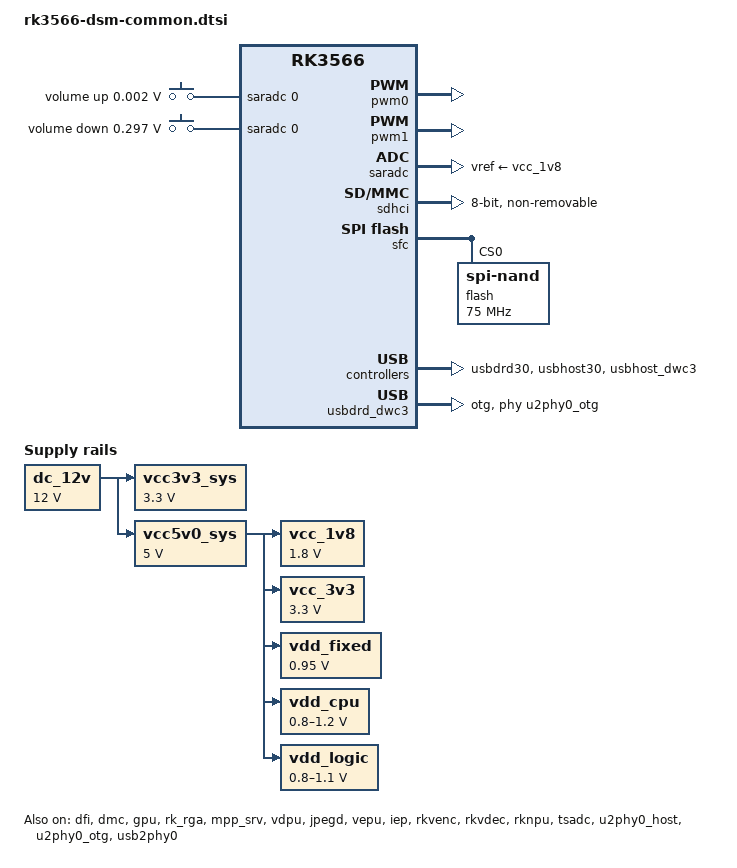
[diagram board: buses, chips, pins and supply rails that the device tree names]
// SPDX-License-Identifier: (GPL-2.0+ OR MIT)
/*
 * Common RK3566 DSM/NAS support.
 *
 * Keep display, HDMI audio and board-only connectors out of this file.
 */

#include "rk3566.dtsi"
#include <dt-bindings/input/rk-input.h>

/ {
	adc_keys: adc-keys {
		compatible = "adc-keys";
		io-channels = <&saradc 0>;
		io-channel-names = "buttons";
		keyup-threshold-microvolt = <1800000>;
		poll-interval = <100>;

		vol-up-key {
			label = "volume up";
			linux,code = <KEY_VOLUMEUP>;
			press-threshold-microvolt = <1750>;
		};

		vol-down-key {
			label = "volume down";
			linux,code = <KEY_VOLUMEDOWN>;
			press-threshold-microvolt = <297500>;
		};
	};

	dc_12v: dc-12v {
		compatible = "regulator-fixed";
		regulator-name = "dc_12v";
		regulator-always-on;
		regulator-boot-on;
		regulator-min-microvolt = <12000000>;
		regulator-max-microvolt = <12000000>;
	};

	reserved-memory {
		#address-cells = <2>;
		#size-cells = <2>;
		ranges;

		/delete-node/ drm-logo@00000000;
		/delete-node/ drm-cubic-lut@00000000;

		rknpu_reserved: rknpu {
			compatible = "shared-dma-pool";
			inactive;
			reusable;
			size = <0x0 0x20000000>;
			alignment = <0x0 0x1000>;
			status = "disabled";
		};
	};

	vcc3v3_sys: vcc3v3-sys {
		compatible = "regulator-fixed";
		regulator-name = "vcc3v3_sys";
		regulator-always-on;
		regulator-boot-on;
		regulator-min-microvolt = <3300000>;
		regulator-max-microvolt = <3300000>;
		vin-supply = <&dc_12v>;
	};

	vcc5v0_sys: vcc5v0-sys {
		compatible = "regulator-fixed";
		regulator-name = "vcc5v0_sys";
		regulator-always-on;
		regulator-boot-on;
		regulator-min-microvolt = <5000000>;
		regulator-max-microvolt = <5000000>;
		vin-supply = <&dc_12v>;
	};

	vcc_1v8: vcc_1v8 {
		compatible = "regulator-fixed";
		regulator-name = "vcc_1v8";
		regulator-always-on;
		regulator-boot-on;
		regulator-min-microvolt = <1800000>;
		regulator-max-microvolt = <1800000>;
		vin-supply = <&vcc5v0_sys>;
	};

	vcc_3v3: vcc_3v3 {
		compatible = "regulator-fixed";
		regulator-name = "vcc_3v3";
		regulator-always-on;
		regulator-boot-on;
		regulator-min-microvolt = <3300000>;
		regulator-max-microvolt = <3300000>;
		vin-supply = <&vcc5v0_sys>;
	};

	vdd_fixed: vdd-fixed {
		compatible = "regulator-fixed";
		regulator-name = "vdd_fixed";
		regulator-min-microvolt = <950000>;
		regulator-max-microvolt = <950000>;
		regulator-always-on;
		regulator-boot-on;
		vin-supply = <&vcc5v0_sys>;
	};

	vdd_cpu: vdd-cpu {
		compatible = "pwm-regulator";
		pwms = <&pwm0 0 5000 1>;
		regulator-name = "vdd_cpu";
		regulator-min-microvolt = <800000>;
		regulator-max-microvolt = <1200000>;
		regulator-init-microvolt = <950000>;
		regulator-always-on;
		regulator-boot-on;
		regulator-settling-time-up-us = <250>;
		regulator-ramp-delay = <2300>;
		pwm-supply = <&vcc5v0_sys>;
		status = "okay";
	};

	vdd_logic: vdd-logic {
		compatible = "pwm-regulator";
		pwms = <&pwm1 0 5000 1>;
		regulator-name = "vdd_logic";
		regulator-min-microvolt = <800000>;
		regulator-max-microvolt = <1100000>;
		regulator-init-microvolt = <950000>;
		regulator-always-on;
		regulator-boot-on;
		regulator-settling-time-up-us = <250>;
		regulator-ramp-delay = <6001>;
		pwm-supply = <&vcc5v0_sys>;
		status = "okay";
	};
};

&bus_npu {
	status = "disabled";
};

&cpu0 {
	clocks = <&cru ARMCLK>;
	cpu-supply = <&vdd_cpu>;
};

&cpu1 {
	clocks = <&cru ARMCLK>;
};

&cpu2 {
	clocks = <&cru ARMCLK>;
};

&cpu3 {
	clocks = <&cru ARMCLK>;
};

&cpu0_opp_table {
	/* Restore Rockchip SoC-version and speed-grade filtering.
	 * The J/M alternatives are inherited from rk3568.dtsi; do not delete
	 * them or a special bin can lose all of its valid frequency points.
	 */
	rockchip,supported-hw;
	/delete-node/ opp-1992000000;

	/*
	 * P0.5: 1800 MHz is a bad bin on this board.
	 *
	 * Verified on hardware: with >=2 cores under load the box hard-hangs
	 * at a peak of only 56 C, far below every thermal trip.  Reproduced
	 * with two different supplies, so it is not thermal and not a PSU
	 * fault.  The 1608 MHz cap used to be enforced only by the uInitrd
	 * hook writing scaling_max_freq; if that hook ever stops running
	 * (firmware upgrade, path change, initrd rebuild) the kernel would
	 * happily pick 1800 MHz again and hang the box.
	 *
	 * Deleting the OPP makes 1608 MHz a kernel level limit: cpufreq no
	 * longer exposes 1800 MHz at all, so the hook becomes a redundant
	 * belt-and-braces measure rather than the only guard.
	 *
	 * With hardware filtering restored, the normal/M table has six OPPs,
	 * while the J table has only 1008/1416 MHz.  Cooling maps therefore
	 * specify frequency ceilings, resolved against the actual CPUFreq
	 * table when binding, rather than assuming one state index layout.
	 */
	/delete-node/ opp-1800000000;

	opp-408000000 {
		opp-supported-hw = <0xfb 0xffff>;
		opp-hz = /bits/ 64 <408000000>;
		opp-microvolt = <850000 850000 1200000>;
	};

	opp-600000000 {
		opp-supported-hw = <0xfb 0xffff>;
		opp-hz = /bits/ 64 <600000000>;
		opp-microvolt = <850000 850000 1200000>;
	};

	opp-816000000 {
		opp-supported-hw = <0xfb 0xffff>;
		opp-hz = /bits/ 64 <816000000>;
		opp-microvolt = <850000 850000 1200000>;
	};

	opp-1104000000 {
		opp-supported-hw = <0xfb 0xffff>;
		opp-hz = /bits/ 64 <1104000000>;
		opp-microvolt = <900000 900000 1200000>;
	};

	opp-1416000000 {
		opp-supported-hw = <0xfb 0xffff>;
		opp-hz = /bits/ 64 <1416000000>;
		opp-microvolt = <1025000 1025000 1200000>;
	};

	opp-1608000000 {
		opp-supported-hw = <0xf9 0xffff>;
		opp-hz = /bits/ 64 <1608000000>;
		opp-microvolt = <1100000 1100000 1200000>;
	};

	/*
	 * P0: make the board level opp-microvolt above actually apply.
	 *
	 * rockchip_set_opp_prop_name() derives "opp-microvolt-L<n>" from the
	 * chip leakage/PVTM bin, and opp/of.c looks that property up FIRST,
	 * falling back to plain "opp-microvolt" only when it is absent.
	 * The SoC dtsi still carries the inherited per-bin voltages, so on
	 * every L1/L2/L3 part the board values above were bypassed.
	 * Measured on this unit (pvtm-volt-sel=1): 1608 MHz ran at 1050 mV
	 * instead of 1100 mV, 1416 MHz at 975 mV instead of 1025 mV, i.e.
	 * a uniform -50 mV gap.  vdd_cpu is a pwm-regulator, so that head
	 * room is not free.  Drop the inherited per-bin voltages so the
	 * values written above are the ones actually applied.
	 *
	 * opp-1800000000 is not touched here: it is deleted entirely above,
	 * so it must not be redefined below.
	 */
	opp-1104000000 {
		/delete-property/ opp-microvolt-L0;
		/delete-property/ opp-microvolt-L1;
		/delete-property/ opp-microvolt-L2;
		/delete-property/ opp-microvolt-L3;
	};

	opp-1416000000 {
		/delete-property/ opp-microvolt-L0;
		/delete-property/ opp-microvolt-L1;
		/delete-property/ opp-microvolt-L2;
		/delete-property/ opp-microvolt-L3;
	};

	opp-1608000000 {
		/delete-property/ opp-microvolt-L0;
		/delete-property/ opp-microvolt-L1;
		/delete-property/ opp-microvolt-L2;
		/delete-property/ opp-microvolt-L3;
	};
};

&dfi {
	status = "okay";
};

&dmc {
	auto-freq-en = <0>;
	center-supply = <&vdd_fixed>;
	status = "okay";
};

&gpu {
	clocks = <&cru CLK_GPU>;
	clock-names = "clk_mali";
	mali-supply = <&vdd_fixed>;
	status = "okay";
};

&gpu_opp_table {
	/delete-node/ opp-700000000;
	/delete-node/ opp-800000000;
	/delete-node/ opp-j-600000000;
	/delete-node/ opp-m-800000000;

	opp-200000000 {
		/delete-property/ opp-supported-hw;
		opp-hz = /bits/ 64 <200000000>;
		opp-microvolt = <850000 850000 1000000>;
	};

	opp-300000000 {
		/delete-property/ opp-supported-hw;
		opp-hz = /bits/ 64 <300000000>;
		opp-microvolt = <850000 850000 1000000>;
	};

	opp-400000000 {
		/delete-property/ opp-supported-hw;
		opp-hz = /bits/ 64 <400000000>;
		opp-microvolt = <850000 850000 1000000>;
	};

	opp-500000000 {
		opp-hz = /bits/ 64 <500000000>;
		opp-microvolt = <900000 900000 1000000>;
	};

	opp-600000000 {
		/delete-property/ opp-supported-hw;
		opp-hz = /bits/ 64 <600000000>;
		opp-microvolt = <900000 900000 1000000>;
	};
};

&pwm0 {
	status = "okay";
	pinctrl-names = "active";
};

&pwm1 {
	status = "okay";
	pinctrl-names = "active";
};

&rk_rga {
	clock-names = "aclk", "hclk", "sclk";
	resets = <&cru SRST_RGA_CORE>, <&cru SRST_A_RGA>, <&cru SRST_H_RGA>;
	reset-names = "core", "axi", "ahb";
	status = "okay";
};

&mpp_srv {
	status = "okay";
};

&vdpu {
	status = "okay";
};

&vdpu_mmu {
	status = "okay";
};

&jpegd {
	status = "okay";
};

&jpegd_mmu {
	status = "okay";
};

&vepu {
	status = "okay";
};

&vepu_mmu {
	status = "okay";
};

&iep {
	status = "okay";
};

&iep_mmu {
	status = "okay";
};

&rkvenc {
	dynamic-power-coefficient = <200>;
	venc-supply = <&vdd_logic>;
	status = "okay";

	power-model {
		compatible = "simple-power-model";
		thermal-zone = "soc-thermal";
		static-coefficient = <100000>;
		dynamic-coefficient = <200>;
		ts = <32000 4700 (-80) 2>;
		ref-leakage = <50>;
	};
};

&rkvenc_mmu {
	status = "okay";
};

&rkvdec {
	dynamic-power-coefficient = <200>;
	resets = <&cru SRST_A_RKVDEC_NIU>, <&cru SRST_H_RKVDEC_NIU>,
		 <&cru SRST_A_RKVDEC>, <&cru SRST_H_RKVDEC>,
		 <&cru SRST_RKVDEC_CA>, <&cru SRST_RKVDEC_CORE>,
		 <&cru SRST_RKVDEC_HEVC_CA>;
	reset-names = "niu_a", "niu_h", "video_a", "video_h",
		      "video_cabac", "video_core", "video_hevc_cabac";
	vdec-supply = <&vdd_logic>;
	status = "okay";

	power-model {
		compatible = "simple-power-model";
		thermal-zone = "soc-thermal";
		static-coefficient = <100000>;
		dynamic-coefficient = <200>;
		ts = <32000 4700 (-80) 2>;
		ref-leakage = <50>;
	};
};

&rkvdec_mmu {
	status = "okay";
};

&rknpu {
	clocks = <&cru CLK_NPU>, <&cru ACLK_NPU>, <&cru HCLK_NPU>;
	clock-names = "clk", "aclk", "hclk";
	dynamic-power-coefficient = <250>;
	memory-region = <&rknpu_reserved>;
	rknpu-supply = <&vdd_fixed>;
	status = "okay";

	power-model {
		compatible = "simple-power-model";
		thermal-zone = "soc-thermal";
		static-coefficient = <100000>;
		dynamic-coefficient = <250>;
		ts = <32000 4700 (-80) 2>;
		ref-leakage = <4>;
	};
};

&rknpu_mmu {
	status = "okay";
};

/*
 * Deliberately no #cooling-cells on the NPU.
 *
 * Giving the node #cooling-cells would let a cooling-map reference it, but
 * that does not make thermal management work: the NPU frequency is static
 * (the rknpu_ondemand governor does not sample load) and it already sits at
 * 600 MHz on a fixed 950 mV rail, so "throttling" it either does nothing or
 * risks an under-voltage operating point the OPP table never described.
 *
 * Its high-temperature protection is a userspace task gate in the
 * RK3566_NPU_Server package instead - see the cooling-maps comment above.
 */

/*
 * Thermal policy for the RK3566 OEC BOX (DS124).
 *
 * The board is passively cooled: no fan, and the SoC reaches its limit
 * long before the stock 85 C trip.  Verified on hardware: a >=2 core load
 * at 1800 MHz hard-hangs the box at a peak of 56 C, i.e. well below both
 * the 75 C and the 85 C trip, so the stock trips are useless as a
 * protection.  The SoC dtsi also ships a 75 C "threshold" trip that no
 * cooling-map ever referenced, so it was a dead entry.
 *
 * Three explicit frequency ceilings, resolved against the hardware-filtered
 * CPUFreq table at cooling-map binding time:
 *
 *   50 C  request at most 1416 MHz
 *   55 C  request at most  816 MHz
 *   75 C  request at most  408 MHz
 *
 * Normal/M bins have six OPPs and resolve these to states 1/3/5.  The J
 * alternatives provide only 1008/1416 MHz, so they resolve to states 0/1/1.
 * For J, 1008 MHz is the documented fallback at 55/75 C, NOT 816/408 MHz.
 *
 * The 50/55 C thresholds were chosen after a real NPU + simulated CPU
 * image-decode load reached 57.2 C; they are not proof of the cause of
 * lockups or white-LED boot failures reported on other boards.
 *
 * rockchip,cpu-frequency-ceiling-khz overrides the lower cooling-state
 * bound using the runtime table.  The first cooling-device argument is
 * only a zero placeholder; the upper bound stays THERMAL_NO_LIMIT so
 * step_wise can continue down to the lowest frequency the bin supports.
 * The standard cooling-map ABI is unchanged for maps without this property.
 *
 * The GPU keeps its own map1 on the same 75 C trip and its own cooling
 * device (thermal-devfreq-*), so the CPU state numbers above do not drag
 * the GPU down.
 *
 * NOTE: node overrides merge by PATH, not by label, so the trips below
 * reuse the SoC dtsi node names (trip-point-0/1) on purpose.  Writing
 * "threshold { ... }" here would create a *sibling* node named
 * "threshold" instead of changing trip-point-0.
 */
&soc_thermal {
	trips {
		/* was 75000 and bound to nothing - a dead trip.
		 * 50000 (50 C): measured real concurrent load (face+concept) peaks
		 * at 57.2 C while 60 C was never reached, so the old 60 C first step
		 * never engaged.  Hysteresis 2000 inherited -> resumes at 48 C, which
		 * keeps the 48.3 C single-task concept run from thrashing.
		 */
		trip-point-0 {
			temperature = <50000>;
		};

		/* was 85000; the box hard-hangs well before 85 C */
		trip-point-1 {
			temperature = <75000>;
		};

		/* intermediate step. 68 C was also unreachable (peak 57.2 C);
		 * 55 C sits 5 C above the first step and within the concurrent peak.
		 */
		cpu_mid: trip-point-2 {
			temperature = <55000>;
			hysteresis = <2000>;
			type = "passive";
		};
	};

	cooling-maps {
		/*
		 * map0 and map1 come from rk3568.dtsi and both point at the
		 * 85 C "target" trip: map0 -> CPU, map1 -> GPU.  map0 is
		 * tightened to the 75 C ceiling; map1 is left untouched so
		 * the GPU keeps its own behaviour.
		 *
		 * Each cooling-device reference is <&dev MAXSTATE THERMAL_NO_LIMIT>:
		 * MAXSTATE is the fastest frequency the tier may allow, and the
		 * unlimited second argument lets the governor drop all the way
		 * to the lowest OPP when the temperature keeps rising.
		 */
		map0 {
			trip = <&target>;
			cooling-device = <&cpu0 0 THERMAL_NO_LIMIT>;
			rockchip,cpu-frequency-ceiling-khz = <408000>;
			contribution = <1024>;
		};

		/* 55 C: the CPU may not run faster than 816 MHz */
		map2 {
			trip = <&cpu_mid>;
			cooling-device = <&cpu0 0 THERMAL_NO_LIMIT>;
			rockchip,cpu-frequency-ceiling-khz = <816000>;
			contribution = <1024>;
		};

		/* 50 C: the CPU may not run faster than 1416 MHz */
		map3 {
			trip = <&threshold>;
			cooling-device = <&cpu0 0 THERMAL_NO_LIMIT>;
			rockchip,cpu-frequency-ceiling-khz = <1416000>;
			contribution = <1024>;
		};

		/*
		 * The NPU is deliberately NOT bound here.
		 *
		 * Throttling it through a cooling-map does not work on this
		 * board, for two independent reasons:
		 *
		 *  1. the NPU has no load-driven frequency scaling.  The
		 *     rknpu_ondemand governor's get_dev_status() returns
		 *     nothing and get_target_freq() just echoes ondemand_freq,
		 *     which is set once at probe to the current clock and only
		 *     changed by a debugfs write.  The frequency is static.
		 *
		 *  2. the static frequency it sits at is already 600 MHz, which
		 *     is also the LOWEST state this table could meaningfully
		 *     ask for without going below the boot frequency.  Any
		 *     cooling step that lands on 600 MHz changes nothing.
		 *
		 * On top of that the NPU rail is vdd_fixed, a fixed 950 mV
		 * regulator, so lowering the clock would not lower the voltage
		 * either - the thermal benefit is a fraction of the CPU's.
		 *
		 * High-temperature protection for the NPU therefore lives in
		 * userspace: the RK3566_NPU_Server package pauses acceptance of
		 * new recognition jobs at 55 C and resumes at 53 C, finishing
		 * the photo already in flight first.  See
		 * npufix-spk/src/payload/npulib/rknn_server/npu_server_rknn.py.
		 */
	};
};

&npu_opp_table {
	/delete-property/ rockchip,supported-hw;
	/delete-node/ opp-1000000000;
	/delete-node/ opp-j-600000000;
	/delete-node/ opp-m-900000000;

	opp-200000000 {
		/delete-property/ opp-supported-hw;
	};

	opp-300000000 {
		/delete-property/ opp-supported-hw;
	};

	opp-400000000 {
		/delete-property/ opp-supported-hw;
	};

	opp-600000000 {
		/delete-property/ opp-supported-hw;
	};

	opp-700000000 {
		/delete-property/ opp-supported-hw;
	};

	opp-800000000 {
		/delete-property/ opp-supported-hw;
	};

	opp-900000000 {
		/delete-property/ opp-supported-hw;
	};
};

&rockchip_suspend {
	status = "okay";
	rockchip,sleep-mode-config = <
		(0
		| RKPM_SLP_CENTER_OFF
		| RKPM_SLP_HW_PLLS_OFF
		| RKPM_SLP_PMUALIVE_32K
		| RKPM_SLP_PMIC_LP
		| RKPM_SLP_32K_PVTM
		)
	>;
	rockchip,wakeup-config = <
		(0
		| RKPM_PWM0_WKUP_EN
		| RKPM_CPU0_WKUP_EN
		)
	>;
};

&saradc {
	status = "okay";
	vref-supply = <&vcc_1v8>;
};

&sdhci {
	/* Compatibility experiment: avoid the HS200/HS400 DLL/tuning path. */
	max-frequency = <52000000>;
	/delete-property/ mmc-hs200-1_8v;
	/delete-property/ mmc-hs200-1_2v;
	/delete-property/ mmc-hs400-1_8v;
	/delete-property/ mmc-hs400-1_2v;
	/delete-property/ mmc-hs400-enhanced-strobe;
	bus-width = <8>;
	no-sdio;
	no-sd;
	non-removable;
	pinctrl-names = "default";
	pinctrl-0 = <&emmc_bus8 &emmc_clk &emmc_cmd
		     &emmc_datastrobe &emmc_rstnout>;
	status = "okay";
};

&sfc {
	status = "okay";

	flash@0 {
		compatible = "spi-nand";
		reg = <0>;
		spi-max-frequency = <75000000>;
		spi-rx-bus-width = <4>;
		spi-tx-bus-width = <1>;
	};
};

&tsadc {
	status = "okay";
};

&u2phy0_host {
	status = "okay";
};

&u2phy0_otg {
	status = "okay";
};

&usb2phy0 {
	status = "okay";
};

&usbdrd30 {
	status = "okay";
};

&usbdrd_dwc3 {
	dr_mode = "otg";
	phys = <&u2phy0_otg>;
	maximum-speed = "high-speed";
	extcon = <&usb2phy0>;
	snps,dev_force_20_clk_for_30_clk;
	status = "okay";
};

&usbhost30 {
	status = "okay";
};

&usbhost_dwc3 {
	status = "okay";
};
